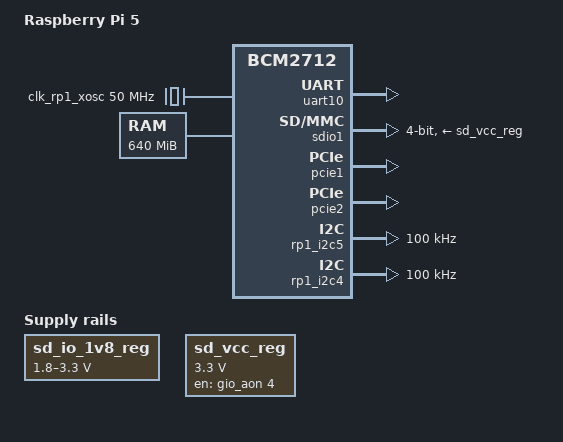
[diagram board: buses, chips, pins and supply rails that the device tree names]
// SPDX-License-Identifier: (GPL-2.0 OR MIT)
/dts-v1/;

#include <dt-bindings/gpio/gpio.h>
#include <dt-bindings/pwm/pwm.h>

#include "bcm2712.dtsi"
#include "rp1-placeholder.dtsi"

/ {
	compatible = "raspberrypi,5-model-b", "brcm,bcm2712";
	model = "Raspberry Pi 5";

	aliases {
		serial10 = &uart10;
	};

	chosen: chosen {
		stdout-path = "serial10:115200n8";
	};

	clk_rp1_xosc: clock-50000000 {
		compatible = "fixed-clock";
		#clock-cells = <0>;
		clock-output-names = "rp1-xosc";
		clock-frequency = <50000000>;
	};

	/* Will be filled by the bootloader */
	memory@0 {
		device_type = "memory";
		reg = <0 0 0 0x28000000>;
	};

	sd_io_1v8_reg: sd-io-1v8-reg {
		compatible = "regulator-gpio";
		regulator-name = "vdd-sd-io";
		regulator-min-microvolt = <1800000>;
		regulator-max-microvolt = <3300000>;
		regulator-boot-on;
		regulator-always-on;
		regulator-settling-time-us = <5000>;
		gpios = <&gio_aon 3 GPIO_ACTIVE_HIGH>;
		states = <1800000 1>,
			 <3300000 0>;
	};

	sd_vcc_reg: sd-vcc-reg {
		compatible = "regulator-fixed";
		regulator-name = "vcc-sd";
		regulator-min-microvolt = <3300000>;
		regulator-max-microvolt = <3300000>;
		regulator-boot-on;
		enable-active-high;
		gpios = <&gio_aon 4 GPIO_ACTIVE_HIGH>;
	};

	fan: cooling_fan {
		status = "disabled";
		compatible = "pwm-fan";
		#cooling-cells = <2>;
		cooling-min-state = <0>;
		cooling-max-state = <3>;
		cooling-levels = <0 75 125 175 250>;
		pwms = <&rp1_pwm1 3 41566 PWM_POLARITY_INVERTED>;
		rpm-regmap = <&rp1_pwm1>;
		rpm-offset = <0x3c>;
	};
};

/* The Debug UART, on Rpi5 it's on JST-SH 1.0mm 3-pin connector
 * labeled "UART", i.e. the interface with the system console.
 */
&uart10 {
	status = "okay";
};

/* SDIO1 is used to drive the SD card */
&sdio1 {
	vqmmc-supply = <&sd_io_1v8_reg>;
	vmmc-supply = <&sd_vcc_reg>;
	bus-width = <4>;
	sd-uhs-sdr50;
	sd-uhs-ddr50;
	sd-uhs-sdr104;
};

&soc {
	firmware: firmware {
		compatible = "raspberrypi,bcm2835-firmware", "simple-mfd";
		#address-cells = <1>;
		#size-cells = <1>;

		mboxes = <&mailbox>;
		dma-ranges;

		firmware_clocks: clocks {
			compatible = "raspberrypi,firmware-clocks";
			#clock-cells = <1>;
		};

		reset: reset {
			compatible = "raspberrypi,firmware-reset";
			#reset-cells = <1>;
		};
	};

	power: power {
		compatible = "raspberrypi,bcm2835-power";
		firmware = <&firmware>;
		#power-domain-cells = <1>;
	};
};

&hvs {
	clocks = <&firmware_clocks 4>, <&firmware_clocks 16>;
	clock-names = "core", "disp";
};

&hdmi0 {
	clocks = <&firmware_clocks 13>, <&firmware_clocks 14>, <&dvp 0>, <&clk_27MHz>;
	clock-names = "hdmi", "bvb", "audio", "cec";
};

&hdmi1 {
	clocks = <&firmware_clocks 13>, <&firmware_clocks 14>, <&dvp 1>, <&clk_27MHz>;
	clock-names = "hdmi", "bvb", "audio", "cec";
};

&pcie1 {
	status = "okay";
};

&pcie2 {
	status = "okay";
};

i2c_csi_dsi0: &rp1_i2c5 { // Note: This is for MIPI0 connector only
	pinctrl-0 = <&rp1_i2c6_38_39>;
	pinctrl-names = "default";
	clock-frequency = <100000>;
	symlink = "i2c-6";
};

i2c_csi_dsi1: &rp1_i2c4 { // Note: This is for MIPI1 connector only
	pinctrl-0 = <&rp1_i2c4_40_41>;
	pinctrl-names = "default";
	clock-frequency = <100000>;
	symlink = "i2c-4";
};
